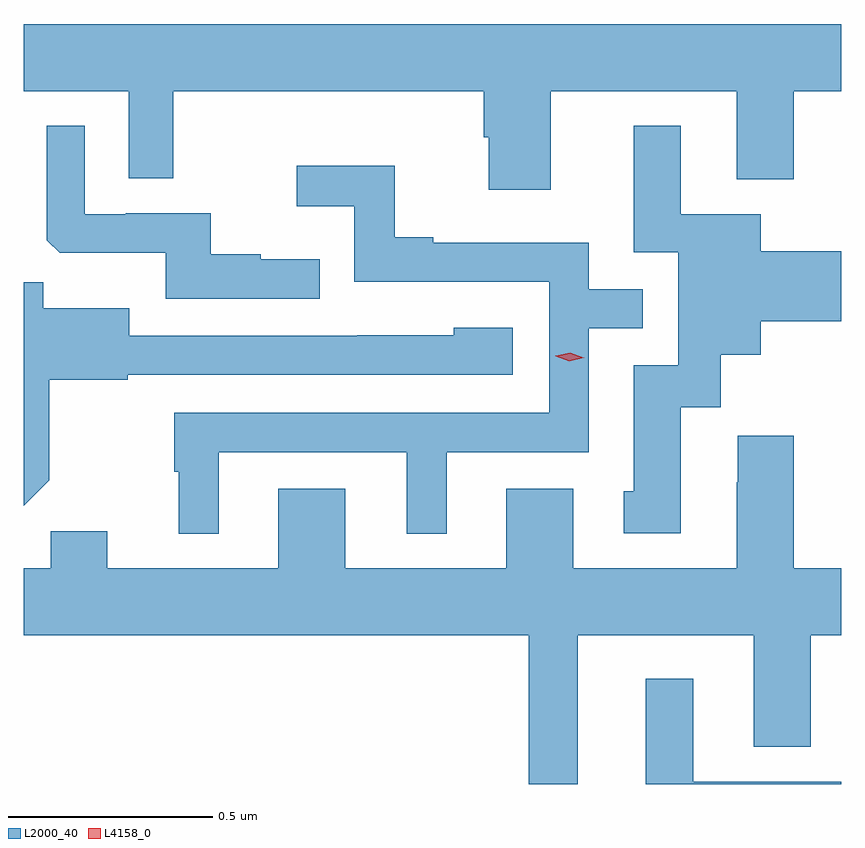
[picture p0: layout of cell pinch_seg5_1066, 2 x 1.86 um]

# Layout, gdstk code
import gdstk
lib = gdstk.Library(unit=1e-6, precision=1e-09)
def P(c, l, *ps):  # polygons
    for p in ps: c.add(gdstk.Polygon(p, *l))
L2000_40 = (2000, 40)
L4158_0 = (4158, 0)

pinch_seg5_1066 = lib.new_cell('pinch_seg5_1066')
P(pinch_seg5_1066, L2000_40, [(707.113,854.096),(707.567,854.096),(707.567,853.88),(707.707,853.88),(707.707,854.096),(707.823,854.096),(707.823,854.26),(705.823,854.26),(705.823,854.096),(706.08,854.096),(706.08,853.882),(706.189,853.882),(706.189,854.096),(706.949,854.096),(706.949,853.983),(706.961,853.983),(706.961,853.854),(707.113,853.854)],
  [(707.431,853.322),(707.529,853.322),(707.529,853.451),(707.626,853.451),(707.626,853.532),(707.823,853.532),(707.823,853.704),(707.626,853.704),(707.626,853.795),(707.431,853.795),(707.431,854.011),(707.315,854.011),(707.315,853.701),(707.424,853.701),(707.424,853.425),(707.315,853.425),(707.315,853.116),(707.291,853.116),(707.291,853.014),(707.431,853.014)],
  [(706.547,853.684),(706.403,853.684),(706.403,853.696),(706.28,853.696),(706.28,853.797),(706.072,853.797),(706.072,853.794),(705.972,853.794),(705.972,854.011),(705.879,854.011),(705.879,853.731),(705.911,853.7),(706.17,853.7),(706.17,853.587),(706.547,853.587)],
  [(706.3,853.212),(706.76,853.212),(706.76,853.013),(706.858,853.013),(706.858,853.212),(707.205,853.212),(707.205,853.515),(707.338,853.515),(707.338,853.611),(707.205,853.611),(707.205,853.725),(706.825,853.725),(706.825,853.738),(706.731,853.738),(706.731,853.913),(706.491,853.913),(706.491,853.814),(706.632,853.814),(706.632,853.629),(707.109,853.629),(707.109,853.308),(706.191,853.308),(706.191,853.164),(706.202,853.164),(706.202,853.013),(706.3,853.013)],
  [(705.885,853.143),(705.885,853.389),(706.077,853.389),(706.077,853.401),(707.02,853.401),(707.02,853.516),(706.875,853.516),(706.875,853.498),(706.639,853.498),(706.639,853.497),(706.081,853.497),(706.081,853.564),(705.87,853.564),(705.87,853.628),(705.823,853.628),(705.823,853.081)],
  [(707.179,852.764),(707.609,852.764),(707.609,852.491),(707.749,852.491),(707.749,852.764),(707.823,852.764),(707.823,852.928),(707.707,852.928),(707.707,853.252),(707.57,853.252),(707.57,853.139),(707.567,853.139),(707.567,852.928),(707.167,852.928),(707.167,853.123),(707.003,853.123),(707.003,852.928),(706.609,852.928),(706.609,853.123),(706.445,853.123),(706.445,852.928),(706.027,852.928),(706.027,853.019),(705.889,853.019),(705.889,852.928),(705.823,852.928),(705.823,852.764),(707.058,852.764),(707.058,852.4),(707.179,852.4)],
  [(707.823,852.406),(707.461,852.406),(707.461,852.658),(707.345,852.658),(707.345,852.4),(707.823,852.4)])
P(pinch_seg5_1066, L4158_0, [(707.158,853.435),(707.125,853.447),(707.124,853.448),(707.125,853.448),(707.16,853.455),(707.193,853.443),(707.194,853.443),(707.193,853.443)])

lib.write_gds('pinch_seg5_1066.gds')
